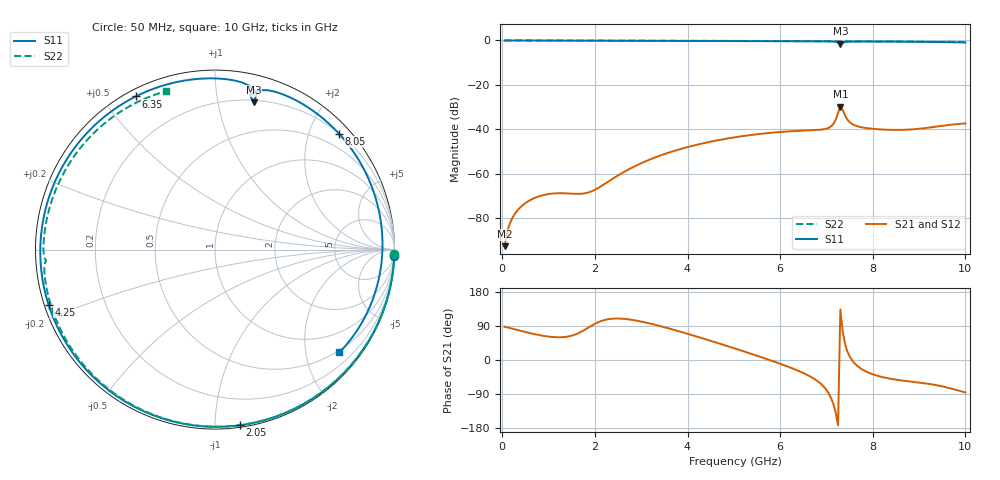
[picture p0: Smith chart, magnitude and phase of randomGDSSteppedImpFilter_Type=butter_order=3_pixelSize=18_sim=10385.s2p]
! freq	dB(S11)	phase(S11)	dB(S12)	phase(S12)
!  dB(S21)	phase(S21)	dB(S22)	phase(S22)
!S-par simulation data
#  GHz  S  DB  R 50
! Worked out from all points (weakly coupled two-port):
!   200 points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, 50 MHz to 10 GHz, reference 50 ohm
!   highest |S21| = -29.77 dB at 7.3 GHz (marker M1); lowest = -92.5 dB at 50 MHz (marker M2)
!   lowest |S11| = -1.4 dB at 7.3 GHz (marker M3), VSWR 12.09, Z = 11 + j63.6 ohm
!   |S11| at or under -10 dB: nowhere
!   |S22| runs from -0.7 to 0.0 dB; largest |S21 - S12| = 0
!   S11 on the Smith chart (normalised r, x): 50 MHz: 0, -54; 2.05 GHz: 0.01, -1.15; 4.25 GHz: 0.01, -0.16; 6.35 GHz: 0.03, +0.61; 8.05 GHz: 0.21, +2.53; 10 GHz: 0.45, -2.71
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0.05  -0.00 -2.1  -92.48 87.7  -92.48 87.7  -0.00 -1.4
0.2  -0.01 -8.3  -80.53 83.2  -80.53 83.2  -0.01 -5.4
0.45  -0.02 -18.6  -73.89 75.3  -73.89 75.3  -0.01 -12.1
0.8  -0.04 -33.0  -70.02 65.7  -70.02 65.7  -0.03 -21.4
1.75  -0.09 -70.6  -68.82 77.6  -68.82 77.6  -0.06 -46.1
2.05  -0.10 -82.0  -66.55 98.5  -66.55 98.5  -0.07 -53.7
2.7  -0.13 -106.1  -58.28 107.7  -58.28 107.7  -0.09 -69.9
3.4  -0.16 -131.4  -51.81 89.8  -51.81 89.8  -0.11 -86.7
4.25  -0.20 -161.7  -46.65 59.9  -46.65 59.9  -0.15 -106.4
5.05  -0.25 169.0  -43.44 29.3  -43.44 29.3  -0.19 -124.6
5.7  -0.30 144.0  -41.71 3.0  -41.71 3.0  -0.23 -139.2
6.35  -0.35 117.4  -40.69 -26.3  -40.69 -26.3  -0.28 -154.0
6.7  -0.38 102.2  -40.36 -47.1  -40.36 -47.1  -0.31 -162.1
7.1  -0.46 83.6  -38.62 -100.7  -38.62 -100.7  -0.36 -171.7
7.2  -0.61 77.9  -35.59 -138.9  -35.59 -138.9  -0.39 -174.2
7.3  -1.44 75.3  -29.77 133.3  -29.77 133.3  -0.51 -176.2
7.45  -0.58 71.9  -35.53 22.9  -35.53 22.9  -0.39 -179.5
7.55  -0.50 66.6  -37.50 -0.3  -37.50 -0.3  -0.39 177.9
8.05  -0.49 42.9  -39.82 -39.7  -39.82 -39.7  -0.44 165.0
8.35  -0.51 29.2  -40.17 -48.8  -40.17 -48.8  -0.48 157.1
9.1  -0.62 -3.7  -39.48 -60.9  -39.48 -60.9  -0.57 135.8
10  -0.92 -39.6  -37.31 -85.7  -37.31 -85.7  -0.69 107.2
